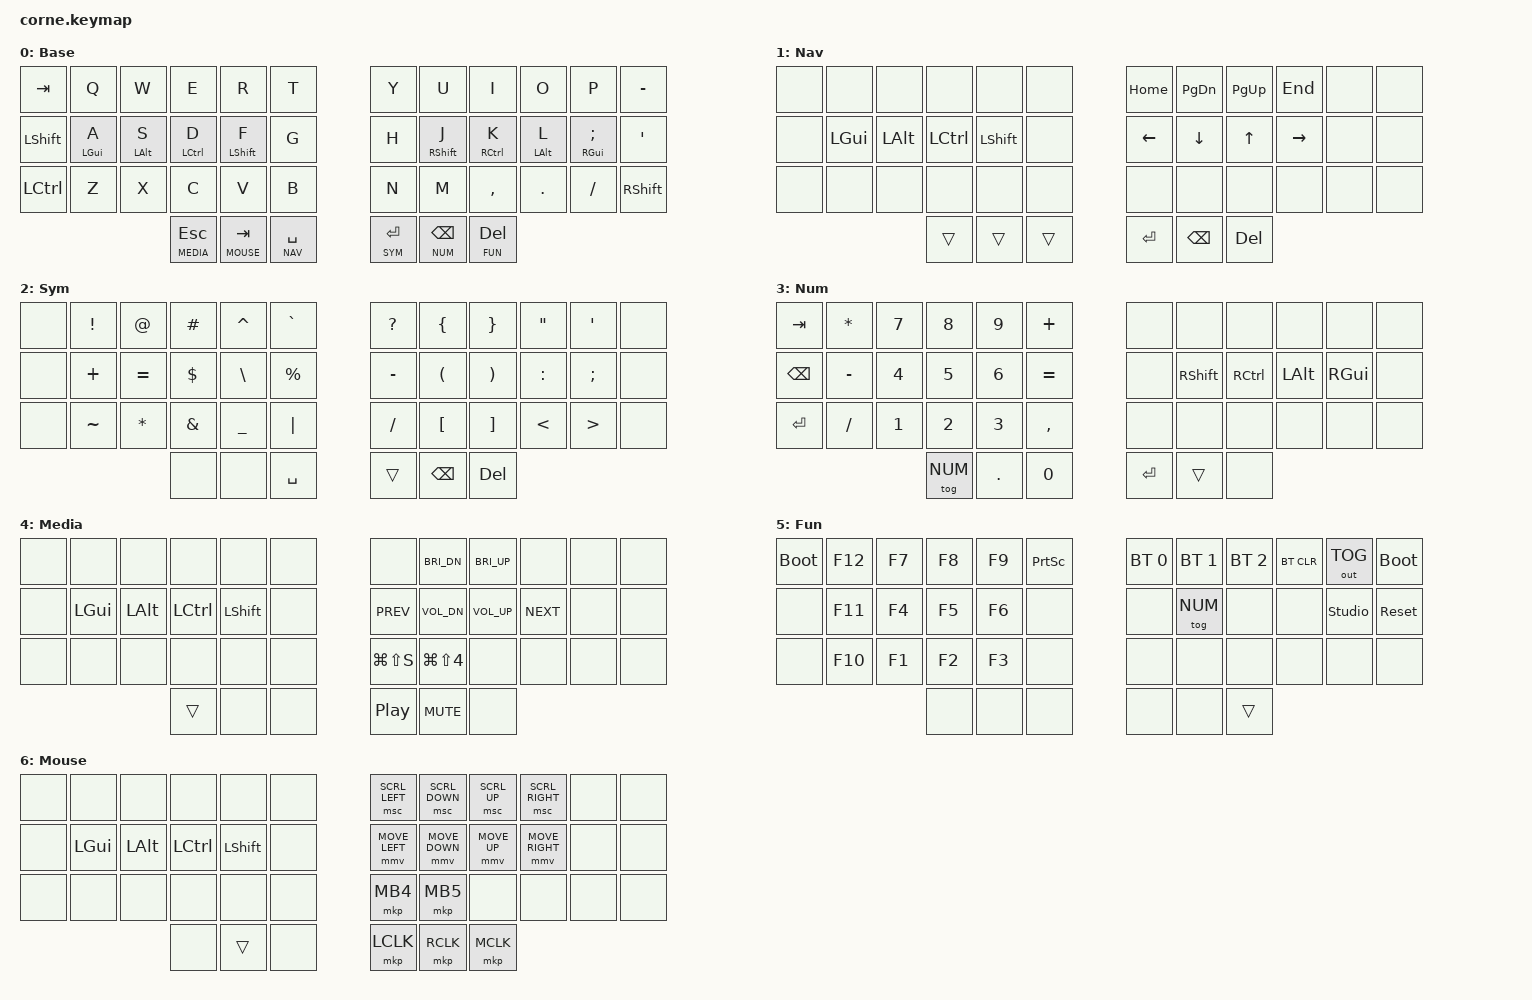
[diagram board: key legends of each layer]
/*
 * Tejas's Corne (42 keys, ZMK v0.3)
 *
 * Big ideas
 *   - QWERTY letters stay put. Home row mods (GACS) with timing-aware settings.
 *   - Every high-traffic non-letter (Space, Enter, Bksp, Tab, Esc, Del) lives on a thumb.
 *   - Thumb holds open layers. Left thumb holds open right-hand layers and vice versa.
 *   - SYM is laid out for LaTeX/markdown first: \ $ = + on the left home row,
 *     ^ above \ and _ below it, every bracket pair on the right hand.
 *   - NUM is a left-hand numpad so the right hand can stay on the mouse in CAD.
 *   - FUN-layer keys pick the machine (Bluetooth profile).
 *
 * Position numbers (used by home row mods)
 *    0  1  2  3  4  5     6  7  8  9 10 11
 *   12 13 14 15 16 17    18 19 20 21 22 23
 *   24 25 26 27 28 29    30 31 32 33 34 35
 *            36 37 38    39 40 41
 */

#include <behaviors.dtsi>
#include <dt-bindings/zmk/keys.h>
#include <dt-bindings/zmk/bt.h>
#include <dt-bindings/zmk/outputs.h>
#include <dt-bindings/zmk/pointing.h>

#define BASE  0
#define NAV   1
#define SYM   2
#define NUM   3
#define MEDIA 4
#define FUN   5
#define MOUSE 6

#define KEYS_L 0 1 2 3 4 5 12 13 14 15 16 17 24 25 26 27 28 29
#define KEYS_R 6 7 8 9 10 11 18 19 20 21 22 23 30 31 32 33 34 35
#define THUMBS 36 37 38 39 40 41

/ {
    behaviors {
        /* Home row mods. A mod only activates when the next key is on the OTHER hand
         * (or a thumb), and never while you're mid-word (require-prior-idle).
         * Your test: 94 ms median hold, 156 ms p95, ~0 simulated misfires. */
        hml: home_row_mod_left {
            compatible = "zmk,behavior-hold-tap";
            display-name = "Home Row Mod Left";
            #binding-cells = <2>;
            flavor = "balanced";
            tapping-term-ms = <280>;
            quick-tap-ms = <175>;
            require-prior-idle-ms = <150>;
            bindings = <&kp>, <&kp>;
            hold-trigger-key-positions = <KEYS_R THUMBS>;
            hold-trigger-on-release;
        };
        hmr: home_row_mod_right {
            compatible = "zmk,behavior-hold-tap";
            display-name = "Home Row Mod Right";
            #binding-cells = <2>;
            flavor = "balanced";
            tapping-term-ms = <280>;
            quick-tap-ms = <175>;
            require-prior-idle-ms = <150>;
            bindings = <&kp>, <&kp>;
            hold-trigger-key-positions = <KEYS_L THUMBS>;
            hold-trigger-on-release;
        };
        /* Thumb keys: tap for the key, hold for the layer.
         * Tap then hold quickly (within 175 ms) to auto-repeat, e.g. Bksp. */
        lth: thumb_layer_tap {
            compatible = "zmk,behavior-hold-tap";
            display-name = "Thumb Layer Tap";
            #binding-cells = <2>;
            flavor = "balanced";
            tapping-term-ms = <200>;
            quick-tap-ms = <175>;
            bindings = <&mo>, <&kp>;
        };
    };

    keymap {
        compatible = "zmk,keymap";

        base {
            display-name = "Base";
// ╭──────┬──────┬──────┬──────┬──────┬──────╮   ╭──────┬──────┬──────┬──────┬──────┬──────╮
// │ Tab  │  Q   │  W   │  E   │  R   │  T   │   │  Y   │  U   │  I   │  O   │  P   │  -   │
// │ Shift│ A/Gui│ S/Alt│D/Ctrl│F/Shft│  G   │   │  H   │J/Shft│K/Ctrl│ L/Alt│;/Gui │  '   │
// │ Ctrl │  Z   │  X   │  C   │  V   │  B   │   │  N   │  M   │  ,   │  .   │  /   │ Shift│
// ╰──────┴──────┴──────┼──────┼──────┼──────┤   ├──────┼──────┼──────┼──────┴──────┴──────╯
//                      │Esc   │Tab   │Space │   │Enter │Bksp  │Del   │
//                      │MEDIA │MOUSE │NAV   │   │SYM   │NUM   │FUN   │
            bindings = <
    &kp TAB    &kp Q          &kp W          &kp E           &kp R           &kp T     &kp Y  &kp U           &kp I           &kp O          &kp P           &kp MINUS
    &kp LSHFT  &hml LGUI A    &hml LALT S    &hml LCTRL D    &hml LSHFT F    &kp G     &kp H  &hmr RSHFT J    &hmr RCTRL K    &hmr LALT L    &hmr RGUI SEMI  &kp SQT
    &kp LCTRL  &kp Z          &kp X          &kp C           &kp V           &kp B     &kp N  &kp M           &kp COMMA       &kp DOT        &kp FSLH        &kp RSHFT
                    &lth MEDIA ESC  &lth MOUSE TAB  &lth NAV SPACE     &lth SYM RET  &lth NUM BSPC  &lth FUN DEL
            >;
        };

        nav {
            display-name = "Nav";
// Held by Space. Arrows on hjkl, Home/PgDn/PgUp/End right above them.
// Left home row = plain mods, so Ctrl+Shift+Left = Space + D + F + H.
            bindings = <
    &none  &none     &none     &none      &none      &none       &kp HOME  &kp PG_DN &kp PG_UP &kp END   &none  &none
    &none  &kp LGUI  &kp LALT  &kp LCTRL  &kp LSHFT  &none       &kp LEFT  &kp DOWN  &kp UP    &kp RIGHT &none  &none
    &none  &none     &none     &none      &none      &none       &none     &none     &none     &none     &none  &none
                    &trans  &trans  &trans                  &kp RET  &kp BSPC  &kp DEL
            >;
        };

        sym {
            display-name = "Sym";
// Held by Enter.
// ╭─────┬─────┬─────┬─────┬─────┬─────╮   ╭─────┬─────┬─────┬─────┬─────┬─────╮
// │     │  !  │  @  │  #  │  ^  │  `  │   │  ?  │  {  │  }  │  "  │  '  │     │
// │     │  +  │  =  │  $  │  \  │  %  │   │  -  │  (  │  )  │  :  │  ;  │     │
// │     │  ~  │  *  │  &  │  _  │  |  │   │  /  │  [  │  ]  │  <  │  >  │     │
// ╰─────┴─────┴─────┼─────┼─────┼─────┤   ├─────┼─────┼─────┼─────┴─────┴─────╯
//                   │     │     │Space│   │ ▓▓▓ │Bksp │ Del │
            bindings = <
    &none  &kp EXCL   &kp AT     &kp HASH   &kp CARET  &kp GRAVE     &kp QMARK  &kp LBRC  &kp RBRC  &kp DQT    &kp SQT   &none
    &none  &kp PLUS   &kp EQUAL  &kp DLLR   &kp BSLH   &kp PRCNT     &kp MINUS  &kp LPAR  &kp RPAR  &kp COLON  &kp SEMI  &none
    &none  &kp TILDE  &kp ASTRK  &kp AMPS   &kp UNDER  &kp PIPE      &kp FSLH   &kp LBKT  &kp RBKT  &kp LT     &kp GT    &none
                    &none  &none  &kp SPACE                     &trans  &kp BSPC  &kp DEL
            >;
        };

        num {
            display-name = "Num";
// Held by Bksp. Numpad under the left hand, 0 on the left thumb.
// Lock it on for CAD from FUN, unlock with the left outer thumb.
            bindings = <
    &kp TAB   &kp ASTRK  &kp N7  &kp N8  &kp N9  &kp PLUS     &none  &none      &none      &none     &none     &none
    &kp BSPC  &kp MINUS  &kp N4  &kp N5  &kp N6  &kp EQUAL    &none  &kp RSHFT  &kp RCTRL  &kp LALT  &kp RGUI  &none
    &kp RET   &kp FSLH   &kp N1  &kp N2  &kp N3  &kp COMMA    &none  &none      &none      &none     &none     &none
                    &tog NUM  &kp DOT  &kp N0                  &kp RET  &trans  &none
            >;
        };

        media {
            display-name = "Media";
// Held by Esc. Mirrors NAV: prev/vol-/vol+/next on hjkl, brightness above.
            bindings = <
    &none  &none     &none     &none      &none      &none       &none            &kp C_BRI_DN  &kp C_BRI_UP  &none     &none  &none
    &none  &kp LGUI  &kp LALT  &kp LCTRL  &kp LSHFT  &none       &kp C_PREV       &kp C_VOL_DN  &kp C_VOL_UP  &kp C_NEXT &none &none
    &none  &none     &none     &none      &none      &none       &kp LG(LS(S))    &kp LG(LS(N4)) &none        &none     &none  &none
                    &trans  &none  &none                    &kp C_PP  &kp C_MUTE  &none
            >;
        };

        fun {
            display-name = "Fun";
// Held by Del. F-keys sit where NUM puts the matching digit.
// Right hand: machine select (BT profile), Bluetooth, CAD number lock.
            bindings = <
    &bootloader &kp F12  &kp F7  &kp F8  &kp F9  &kp PSCRN     &bt BT_SEL 0 &bt BT_SEL 1 &bt BT_SEL 2 &bt BT_CLR  &out OUT_TOG   &bootloader
    &none       &kp F11  &kp F4  &kp F5  &kp F6  &none         &none        &tog NUM     &none        &none       &studio_unlock &sys_reset
    &none       &kp F10  &kp F1  &kp F2  &kp F3  &none         &none      &none      &none   &none       &none          &none
                    &none  &none  &none                       &none  &none  &trans
            >;
        };

        mouse {
            display-name = "Mouse";
// Held by Tab. Move on hjkl, scroll above, back/forward below, clicks on right thumbs.
            bindings = <
    &none  &none     &none     &none      &none      &none       &msc SCRL_LEFT  &msc SCRL_DOWN  &msc SCRL_UP  &msc SCRL_RIGHT  &none  &none
    &none  &kp LGUI  &kp LALT  &kp LCTRL  &kp LSHFT  &none       &mmv MOVE_LEFT  &mmv MOVE_DOWN  &mmv MOVE_UP  &mmv MOVE_RIGHT  &none  &none
    &none  &none     &none     &none      &none      &none       &mkp MB4        &mkp MB5        &none         &none            &none  &none
                    &none  &trans  &none                     &mkp LCLK  &mkp RCLK  &mkp MCLK
            >;
        };
    };
};
